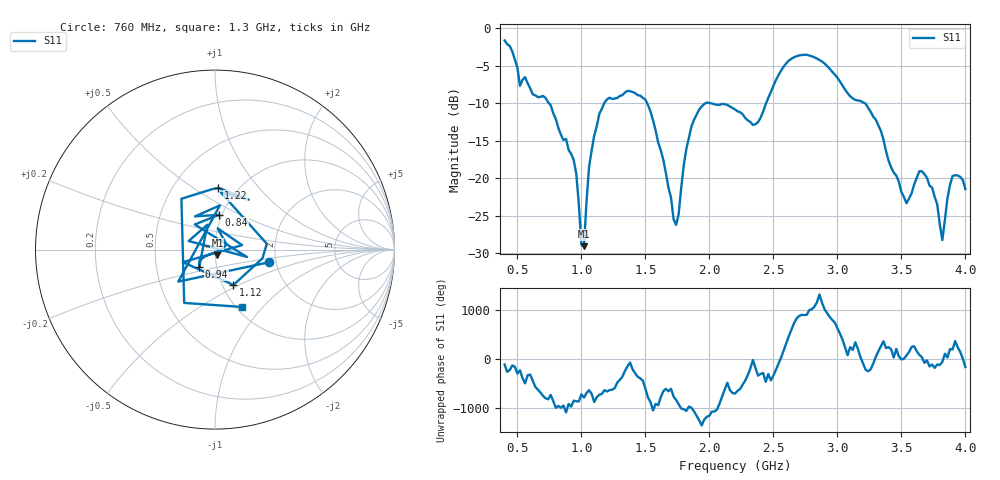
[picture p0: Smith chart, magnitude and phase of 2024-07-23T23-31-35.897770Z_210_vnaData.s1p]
!Created with skrf (http://scikit-rf.org).
# Hz S RI R 50.0
!freq ReS11 ImS11
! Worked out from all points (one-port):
!   181 points, 400 MHz to 4 GHz, reference 50 ohm
!   lowest |S11| = -29.1 dB at 1.02 GHz (marker M1), VSWR 1.07, Z = 51.2 - j3.33 ohm
!   |S11| at or under -10 dB: 1.514 GHz to 1.97 GHz (456.3 MHz wide, 26.2 % of centre); 2.01 GHz to 2.443 GHz (433.5 MHz wide, 19.5 % of centre); 3.215 GHz to end of sweep (the widest 3 of 4)
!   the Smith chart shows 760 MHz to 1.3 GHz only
!   S11 on the Smith chart (normalised r, x): 760 MHz: 1.82, -0.29; 840 MHz: 0.97, +0.39; 940 MHz: 0.82, -0.17; 1.12 GHz: 1.13, -0.47; 1.22 GHz: 0.82, +0.64; 1.3 GHz: 1.06, -0.78
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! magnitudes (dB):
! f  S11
! 400 MHz  -1.6
! 520 MHz  -7.7
! 760 MHz  -10.3
! 840 MHz  -14.2
! 860 MHz  -14.9
! 940 MHz  -17.6
! 1 GHz  -28.9
! 1.02 GHz  -29.1
! 1.06 GHz  -18.5
! 1.12 GHz  -13.1
! 1.22 GHz  -9.3
! 1.3 GHz  -9.0
! 1.5 GHz  -9.5
! 1.72 GHz  -25.5
! 1.76 GHz  -24.8
! 1.82 GHz  -16.1
! 1.92 GHz  -10.8
! 2.2 GHz  -10.8
! 2.38 GHz  -12.5
! 2.66 GHz  -3.9
! 3.1 GHz  -9.1
! 3.3 GHz  -12.2
! 3.56 GHz  -22.7
! 3.68 GHz  -19.5
! 3.78 GHz  -23.5
! 3.82 GHz  -28.3
! 3.9 GHz  -19.7
! 4 GHz  -21.5
